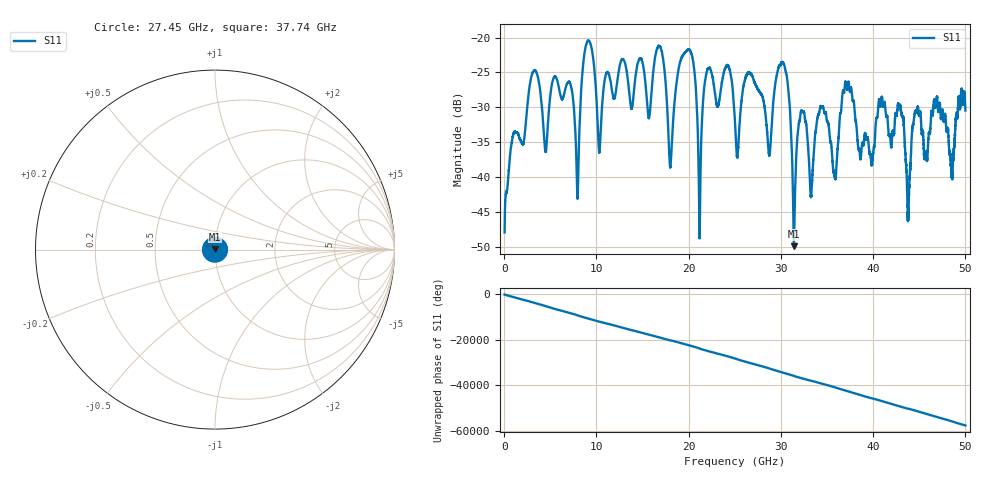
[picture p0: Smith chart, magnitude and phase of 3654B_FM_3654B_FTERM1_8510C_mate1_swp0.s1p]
!Created with skrf (http://scikit-rf.org).
# Hz S RI R 50.0
!freq ReS11 ImS11
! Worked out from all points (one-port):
!   10001 points, 45 MHz to 50 GHz, reference 50 ohm
!   lowest |S11| = -49.9 dB at 31.41 GHz (marker M1), VSWR 1.01, Z = 49.9 + j0.285 ohm
!   |S11| at or under -10 dB: start of sweep to end of sweep
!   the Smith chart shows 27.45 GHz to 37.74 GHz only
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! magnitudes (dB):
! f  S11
! 45 MHz  -48.0
! 3.112 GHz  -24.9
! 4.471 GHz  -36.4
! 6.289 GHz  -28.8
! 7.933 GHz  -42.8
! 8.987 GHz  -20.6
! 10.32 GHz  -36.4
! 12.53 GHz  -23.9
! 16.9 GHz  -21.3
! 18.02 GHz  -38.4
! 18.78 GHz  -25.6
! 20.34 GHz  -22.5
! 21.19 GHz  -48.7
! 22.13 GHz  -24.5
! 25.02 GHz  -32.2
! 26.66 GHz  -25.1
! 28.75 GHz  -36.9
! 30.22 GHz  -23.6
! 31.27 GHz  -39.9
! 31.41 GHz  -49.9
! 32.27 GHz  -30.5
! 35.83 GHz  -39.8
! 37.51 GHz  -27.7
! 39.79 GHz  -37.7
! 42.89 GHz  -29.8
! 43.76 GHz  -45.8
! 44.67 GHz  -30.6
! 50 GHz  -30.5
